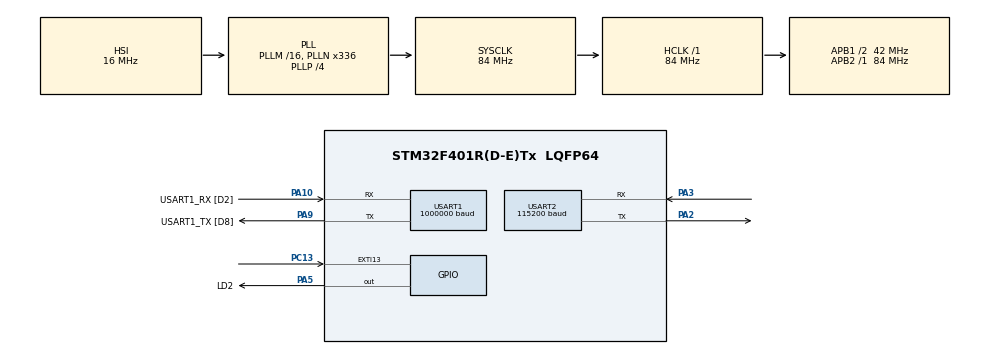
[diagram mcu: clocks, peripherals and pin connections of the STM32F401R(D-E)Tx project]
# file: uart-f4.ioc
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Dma.Request0=USART1_RX
Dma.USART1_RX.0.Direction=DMA_PERIPH_TO_MEMORY
Dma.USART1_RX.0.FIFOMode=DMA_FIFOMODE_DISABLE
Dma.USART1_RX.0.Instance=DMA2_Stream2
Dma.USART1_RX.0.MemDataAlignment=DMA_MDATAALIGN_BYTE
Dma.USART1_RX.0.MemInc=DMA_MINC_ENABLE
Dma.USART1_RX.0.Mode=DMA_CIRCULAR
Dma.USART1_RX.0.PeriphDataAlignment=DMA_PDATAALIGN_BYTE
Dma.USART1_RX.0.PeriphInc=DMA_PINC_DISABLE
Dma.USART1_RX.0.Priority=DMA_PRIORITY_LOW
Mcu.Family=STM32F4
Mcu.Name=STM32F401R(D-E)Tx
Mcu.Package=LQFP64
NVIC.DMA2_Stream2_IRQn=true\:0\:0\:false\:false\:true\:false
NVIC.PriorityGroup=NVIC_PRIORITYGROUP_0
NVIC.USART1_IRQn=true\:0\:0\:false\:false\:true\:true
PA10.GPIO_Label=USART1_RX [D2]
PA10.Mode=Asynchronous
PA10.Signal=USART1_RX
PA13.Mode=Serial_Wire
PA13.Signal=SYS_JTMS-SWDIO
PA14.Mode=Serial_Wire
PA14.Signal=SYS_JTCK-SWCLK
PA2.GPIO_Mode=GPIO_MODE_AF_PP
PA2.GPIO_PuPd=GPIO_PULLUP
PA2.GPIO_Speed=GPIO_SPEED_FREQ_VERY_HIGH
PA2.Mode=Asynchronous
PA2.Signal=USART2_TX
PA3.GPIO_Mode=GPIO_MODE_AF_PP
PA3.GPIO_PuPd=GPIO_PULLUP
PA3.GPIO_Speed=GPIO_SPEED_FREQ_VERY_HIGH
PA3.Mode=Asynchronous
PA3.Signal=USART2_RX
PA5.GPIO_Label=LD2
PA5.GPIO_Mode=GPIO_MODE_OUTPUT_PP
PA5.GPIO_ModeDefaultOutputPP=GPIO_MODE_OUTPUT_PP
PA5.GPIO_PuPd=GPIO_NOPULL
PA5.GPIO_Speed=GPIO_SPEED_FREQ_LOW
PA5.PinState=GPIO_PIN_RESET
PA5.Signal=GPIO_Output
PA9.GPIO_Label=USART1_TX [D8]
PA9.Mode=Asynchronous
PA9.Signal=USART1_TX
PB3.Signal=SYS_JTDO-SWO
PC13-ANTI_TAMP.GPIO_ModeDefaultEXTI=GPIO_MODE_IT_RISING
PC13-ANTI_TAMP.GPIO_PuPd=GPIO_NOPULL
PC13-ANTI_TAMP.Signal=GPXTI13
PC14-OSC32_IN.Mode=LSE-External-Oscillator
PC14-OSC32_IN.Signal=RCC_OSC32_IN
PC15-OSC32_OUT.Mode=LSE-External-Oscillator
PC15-OSC32_OUT.Signal=RCC_OSC32_OUT
PH0\ -\ OSC_IN.Mode=HSE-External-Clock-Source
PH0\ -\ OSC_IN.Signal=RCC_OSC_IN
PH1\ -\ OSC_OUT.Mode=HSE-External-Clock-Source
PH1\ -\ OSC_OUT.Signal=RCC_OSC_OUT
ProjectManager.HeapSize=0x200
ProjectManager.StackSize=0x400
ProjectManager.TargetToolchain=Makefile
RCC.48MHZClocksFreq_Value=48000000
RCC.AHBFreq_Value=84000000
RCC.APB1CLKDivider=RCC_HCLK_DIV2
RCC.APB1Freq_Value=42000000
RCC.APB1TimFreq_Value=84000000
RCC.APB2Freq_Value=84000000
RCC.APB2TimFreq_Value=84000000
RCC.CortexFreq_Value=84000000
RCC.HCLKFreq_Value=84000000
RCC.HSE_VALUE=8000000
RCC.HSI_VALUE=16000000
RCC.PLLN=336
RCC.PLLP=RCC_PLLP_DIV4
RCC.PLLQ=7
RCC.SYSCLKFreq_VALUE=84000000
RCC.SYSCLKSource=RCC_SYSCLKSOURCE_PLLCLK
RCC.VCOOutputFreq_Value=336000000
USART1.BaudRate=1000000
USART1.VirtualMode=VM_ASYNC
USART2.BaudRate=115200
USART2.StopBits=STOPBITS_1
USART2.VirtualMode=VM_ASYNC
USART2.WordLength=WORDLENGTH_8B
board=NUCLEO-F401RE

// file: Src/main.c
/**
  ******************************************************************************
  * @file           : main.c
  * @brief          : Main program body
  ******************************************************************************
  ** This notice applies to any and all portions of this file
  * that are not between comment pairs USER CODE BEGIN and
  * USER CODE END. Other portions of this file, whether
  * inserted by the user or by software development tools
  * are owned by their respective copyright owners.
  *
  * COPYRIGHT(c) 2018 STMicroelectronics
  *
  * Redistribution and use in source and binary forms, with or without modification,
  * are permitted provided that the following conditions are met:
  *   1. Redistributions of source code must retain the above copyright notice,
  *      this list of conditions and the following disclaimer.
  *   2. Redistributions in binary form must reproduce the above copyright notice,
  *      this list of conditions and the following disclaimer in the documentation
  *      and/or other materials provided with the distribution.
  *   3. Neither the name of STMicroelectronics nor the names of its contributors
  *      may be used to endorse or promote products derived from this software
  *      without specific prior written permission.
  *
  * THIS SOFTWARE IS PROVIDED BY THE COPYRIGHT HOLDERS AND CONTRIBUTORS "AS IS"
  * AND ANY EXPRESS OR IMPLIED WARRANTIES, INCLUDING, BUT NOT LIMITED TO, THE
  * IMPLIED WARRANTIES OF MERCHANTABILITY AND FITNESS FOR A PARTICULAR PURPOSE ARE
  * DISCLAIMED. IN NO EVENT SHALL THE COPYRIGHT HOLDER OR CONTRIBUTORS BE LIABLE
  * FOR ANY DIRECT, INDIRECT, INCIDENTAL, SPECIAL, EXEMPLARY, OR CONSEQUENTIAL
  * DAMAGES (INCLUDING, BUT NOT LIMITED TO, PROCUREMENT OF SUBSTITUTE GOODS OR
  * SERVICES; LOSS OF USE, DATA, OR PROFITS; OR BUSINESS INTERRUPTION) HOWEVER
  * CAUSED AND ON ANY THEORY OF LIABILITY, WHETHER IN CONTRACT, STRICT LIABILITY,
  * OR TORT (INCLUDING NEGLIGENCE OR OTHERWISE) ARISING IN ANY WAY OUT OF THE USE
  * OF THIS SOFTWARE, EVEN IF ADVISED OF THE POSSIBILITY OF SUCH DAMAGE.
  *
  ******************************************************************************
  */
#include "main.h"
#include "stm32f4xx_hal.h"
#include "dma.h"
#include "usart.h"
#include "gpio.h"

/* USER CODE BEGIN Includes */
#include "rpv1.h"
#include "rpv1_stm32.h"
#include "rc_server.h"
/* USER CODE END Includes */

/* USER CODE BEGIN PV */
/* Private variables ---------------------------------------------------------*/
RP_Interface iface_rpi;
volatile uint8_t level = 0;
uint8_t buffer;

RC_Server jacky_server;

typedef enum Jacky_Functions_E{
  SET_PWM,
  STOP
}Jacky_Functions;

void set_pwm(uint8_t *data){
  level = *data;
}

void stop(uint8_t *data){
  level = 0;
}

/* USER CODE END PV */

void SystemClock_Config(void);

/* USER CODE BEGIN PFP */
/* Private function prototypes -----------------------------------------------*/

/* USER CODE END PFP */

/* USER CODE BEGIN 0 */
void RP_Packet_Received(RP_Interface *interface, RP_Packet *packet){
  if(interface == &iface_rpi && packet->len >= 1){
    RC_Get_Request(&jacky_server, packet->data[0], packet->data + 1, packet->len - 1);
  }
}

uint8_t RP_UART_Transmit(uint8_t *data, uint16_t size, uint32_t timeout){
int i;
for(i = 0; i < size; i++){
LL_USART_TransmitData8(USART1, data[i]);
while(LL_USART_IsActiveFlag_TXE(USART1) == 0);
}
    return 0;
}

/* USER CODE END 0 */

int main(void)
{

  /* MCU Configuration----------------------------------------------------------*/

  /* Reset of all peripherals, Initializes the Flash interface and the Systick. */
  HAL_Init();

  /* Configure the system clock */
  SystemClock_Config();

  /* Initialize all configured peripherals */
  MX_GPIO_Init();
  MX_DMA_Init();
  MX_USART2_UART_Init();
  MX_USART1_UART_Init();
  /* USER CODE BEGIN 2 */

  RP_Init_Interface(&iface_rpi, RP_UART_Transmit);
  RP_INIT_UART_DMA(DMA2, LL_DMA_STREAM_2, USART1, iface_rpi);

  //Jacky Server
  RC_Server_Init(&jacky_server);
  RC_Server_Add_Function(&jacky_server, SET_PWM, set_pwm, 1, RC_IMMEDIATE);
  RC_Server_Add_Function(&jacky_server, STOP, stop, 0, RC_IMMEDIATE);

  /* USER CODE END 2 */

  /* Infinite loop */
  /* USER CODE BEGIN WHILE */
  HAL_GPIO_WritePin(LD2_GPIO_Port, LD2_Pin, GPIO_PIN_RESET);

  RP_Packet packet;
  packet.len = 2;
  packet.data[0] = 0;
  packet.data[1] = 10;
  RP_Sync(&iface_rpi, 1);
  RP_Send(&iface_rpi, &packet, 1);

  while (1)
  {
    int i;
    for(i = 0; i < 25500; i++){
      if(i == 0){
	HAL_GPIO_WritePin(LD2_GPIO_Port, LD2_Pin, GPIO_PIN_SET);
      }
      if(i%100 == 0 && i/100 == level){
	HAL_GPIO_WritePin(LD2_GPIO_Port, LD2_Pin, GPIO_PIN_RESET);
      }
    }

  /* USER CODE END WHILE */

  }

}

void SystemClock_Config(void)
{

  RCC_OscInitTypeDef RCC_OscInitStruct;
  RCC_ClkInitTypeDef RCC_ClkInitStruct;

    /**Configure the main internal regulator output voltage
    */
  __HAL_RCC_PWR_CLK_ENABLE();

  __HAL_PWR_VOLTAGESCALING_CONFIG(PWR_REGULATOR_VOLTAGE_SCALE2);

    /**Initializes the CPU, AHB and APB busses clocks
    */
  RCC_OscInitStruct.OscillatorType = RCC_OSCILLATORTYPE_HSI;
  RCC_OscInitStruct.HSIState = RCC_HSI_ON;
  RCC_OscInitStruct.HSICalibrationValue = 16;
  RCC_OscInitStruct.PLL.PLLState = RCC_PLL_ON;
  RCC_OscInitStruct.PLL.PLLSource = RCC_PLLSOURCE_HSI;
  RCC_OscInitStruct.PLL.PLLM = 16;
  RCC_OscInitStruct.PLL.PLLN = 336;
  RCC_OscInitStruct.PLL.PLLP = RCC_PLLP_DIV4;
  RCC_OscInitStruct.PLL.PLLQ = 7;
  if (HAL_RCC_OscConfig(&RCC_OscInitStruct) != HAL_OK)
  {
    _Error_Handler(__FILE__, __LINE__);
  }

    /**Initializes the CPU, AHB and APB busses clocks
    */
  RCC_ClkInitStruct.ClockType = RCC_CLOCKTYPE_HCLK|RCC_CLOCKTYPE_SYSCLK
                              |RCC_CLOCKTYPE_PCLK1|RCC_CLOCKTYPE_PCLK2;
  RCC_ClkInitStruct.SYSCLKSource = RCC_SYSCLKSOURCE_PLLCLK;
  RCC_ClkInitStruct.AHBCLKDivider = RCC_SYSCLK_DIV1;
  RCC_ClkInitStruct.APB1CLKDivider = RCC_HCLK_DIV2;
  RCC_ClkInitStruct.APB2CLKDivider = RCC_HCLK_DIV1;

  if (HAL_RCC_ClockConfig(&RCC_ClkInitStruct, FLASH_LATENCY_2) != HAL_OK)
  {
    _Error_Handler(__FILE__, __LINE__);
  }

    /**Configure the Systick interrupt time
    */
  HAL_SYSTICK_Config(HAL_RCC_GetHCLKFreq()/1000);

    /**Configure the Systick
    */
  HAL_SYSTICK_CLKSourceConfig(SYSTICK_CLKSOURCE_HCLK);

  /* SysTick_IRQn interrupt configuration */
  HAL_NVIC_SetPriority(SysTick_IRQn, 0, 0);
}

void _Error_Handler(char *file, int line)
{
  while(1)
  {
  }
}

/************************ (C) COPYRIGHT STMicroelectronics *****END OF FILE****/
